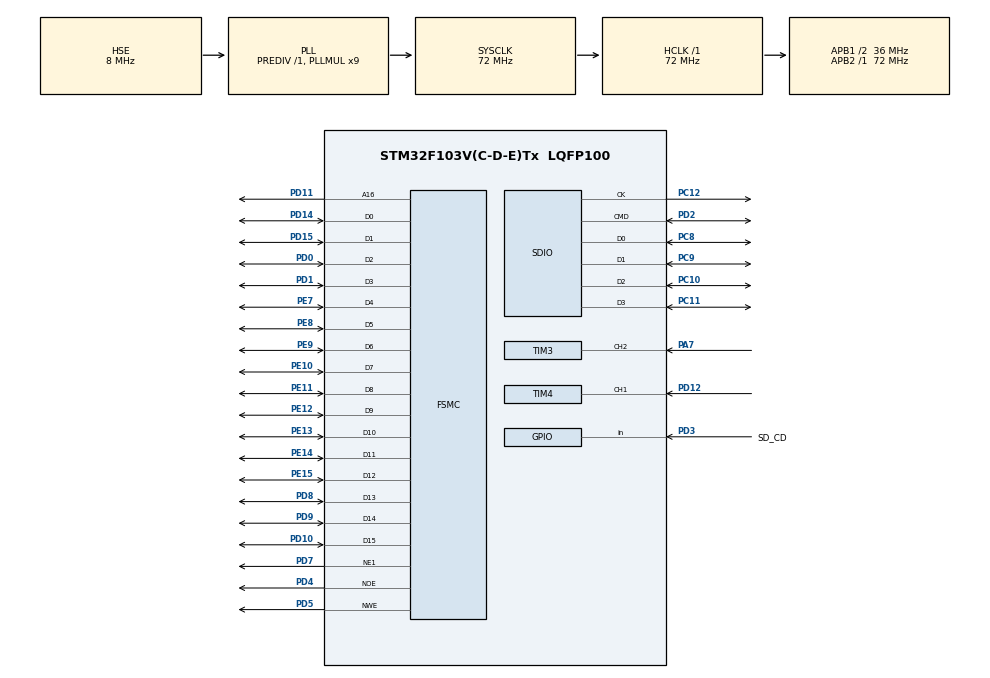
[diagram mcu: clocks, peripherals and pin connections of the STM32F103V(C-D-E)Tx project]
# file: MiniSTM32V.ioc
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Dma.Request0=SDIO
Dma.Request1=TIM4_CH2
Dma.SDIO.0.Direction=DMA_PERIPH_TO_MEMORY
Dma.SDIO.0.Instance=DMA2_Channel4
Dma.SDIO.0.MemDataAlignment=DMA_MDATAALIGN_WORD
Dma.SDIO.0.MemInc=DMA_MINC_ENABLE
Dma.SDIO.0.Mode=DMA_NORMAL
Dma.SDIO.0.PeriphDataAlignment=DMA_PDATAALIGN_WORD
Dma.SDIO.0.PeriphInc=DMA_PINC_DISABLE
Dma.SDIO.0.Priority=DMA_PRIORITY_LOW
Dma.TIM4_CH2.1.Direction=DMA_PERIPH_TO_MEMORY
Dma.TIM4_CH2.1.Instance=DMA1_Channel4
Dma.TIM4_CH2.1.MemDataAlignment=DMA_MDATAALIGN_HALFWORD
Dma.TIM4_CH2.1.MemInc=DMA_MINC_ENABLE
Dma.TIM4_CH2.1.Mode=DMA_CIRCULAR
Dma.TIM4_CH2.1.PeriphDataAlignment=DMA_PDATAALIGN_HALFWORD
Dma.TIM4_CH2.1.PeriphInc=DMA_PINC_DISABLE
Dma.TIM4_CH2.1.Priority=DMA_PRIORITY_VERY_HIGH
FATFS.BSP.number=1
FATFS0.BSP.STBoard=false
FATFS0.BSP.api=Unknown
FATFS0.BSP.i2caddr=0
FATFS0.BSP.instance=PD3
FATFS0.BSP.ip=GPIO
FATFS0.BSP.mode=Input
FATFS0.BSP.name=Detect_SDIO
FATFS0.BSP.solution=PD3
FREERTOS.Tasks01=dccTask,24,128,dccTask_Start,As weak,NULL,Static,dccTaskBuffer,dccTaskControlBlock;guiTask,8,128,guiTask_Start,As external,NULL,Static,guiTaskBuffer,guiTaskControlBlock
FSMC.AddressSetupTime1=10
FSMC.BusTurnAroundDuration1=0
FSMC.DataSetupTime1=10
FSMC.ExtendedAccessMode1=FSMC_ACCESS_MODE_A
FSMC.ExtendedMode1=FSMC_EXTENDED_MODE_ENABLE
Mcu.Family=STM32F1
Mcu.Name=STM32F103V(C-D-E)Tx
Mcu.Package=LQFP100
NVIC.DMA1_Channel4_IRQn=true\:5\:0\:false\:false\:true\:true\:false\:true
NVIC.DMA2_Channel4_5_IRQn=true\:5\:0\:false\:false\:true\:true\:false\:true
NVIC.PriorityGroup=NVIC_PRIORITYGROUP_4
NVIC.SDIO_IRQn=true\:5\:0\:false\:false\:true\:true\:true\:true
NVIC.TIM1_UP_IRQn=true\:0\:0\:false\:false\:true\:false\:false\:true
NVIC.TimeBase=TIM1_UP_IRQn
NVIC.TimeBaseIP=TIM1
OSC_IN.Mode=HSE-External-Oscillator
OSC_IN.Signal=RCC_OSC_IN
OSC_OUT.Mode=HSE-External-Oscillator
OSC_OUT.Signal=RCC_OSC_OUT
PA13.Mode=JTAG_5_pins
PA13.Signal=SYS_JTMS-SWDIO
PA14.Mode=JTAG_5_pins
PA14.Signal=SYS_JTCK-SWCLK
PA15.Mode=JTAG_5_pins
PA15.Signal=SYS_JTDI
PA7.Signal=S_TIM3_CH2
PB10.GPIO_Label=DCC_IN
PB10.Signal=S_TIM2_CH3
PB3.Mode=JTAG_5_pins
PB3.Signal=SYS_JTDO-TRACESWO
PB4.Mode=JTAG_5_pins
PB4.Signal=SYS_NJTRST
PC10.Mode=SD_4_bits_Wide_bus
PC10.Signal=SDIO_D2
PC11.Mode=SD_4_bits_Wide_bus
PC11.Signal=SDIO_D3
PC12.Mode=SD_4_bits_Wide_bus
PC12.Signal=SDIO_CK
PC14-OSC32_IN.Mode=LSE-External-Oscillator
PC14-OSC32_IN.Signal=RCC_OSC32_IN
PC15-OSC32_OUT.Mode=LSE-External-Oscillator
PC15-OSC32_OUT.Signal=RCC_OSC32_OUT
PC8.Mode=SD_4_bits_Wide_bus
PC8.Signal=SDIO_D0
PC9.Mode=SD_4_bits_Wide_bus
PC9.Signal=SDIO_D1
PD0.Mode=16b-d1
PD0.Signal=FSMC_D2
PD1.Mode=16b-d1
PD1.Signal=FSMC_D3
PD10.Mode=16b-d1
PD10.Signal=FSMC_D15
PD11.Mode=A16_1
PD11.Signal=FSMC_A16
PD12.Signal=S_TIM4_CH1
PD14.Mode=16b-d1
PD14.Signal=FSMC_D0
PD15.Mode=16b-d1
PD15.Signal=FSMC_D1
PD2.Mode=SD_4_bits_Wide_bus
PD2.Signal=SDIO_CMD
PD3.GPIO_Label=SD_CD
PD3.Signal=GPIO_Input
PD4.Mode=Lcd1
PD4.Signal=FSMC_NOE
PD5.Mode=Lcd1
PD5.Signal=FSMC_NWE
PD7.Mode=NorPsramChipSelect1_1
PD7.Signal=FSMC_NE1
PD8.Mode=16b-d1
PD8.Signal=FSMC_D13
PD9.Mode=16b-d1
PD9.Signal=FSMC_D14
PE10.Mode=16b-d1
PE10.Signal=FSMC_D7
PE11.Mode=16b-d1
PE11.Signal=FSMC_D8
PE12.Mode=16b-d1
PE12.Signal=FSMC_D9
PE13.Mode=16b-d1
PE13.Signal=FSMC_D10
PE14.Mode=16b-d1
PE14.Signal=FSMC_D11
PE15.Mode=16b-d1
PE15.Signal=FSMC_D12
PE7.Mode=16b-d1
PE7.Signal=FSMC_D4
PE8.Mode=16b-d1
PE8.Signal=FSMC_D5
PE9.Mode=16b-d1
PE9.Signal=FSMC_D6
ProjectManager.HeapSize=0x200
ProjectManager.StackSize=0x400
ProjectManager.TargetToolchain=Other Toolchains (GPDSC)
RCC.AHBFreq_Value=72000000
RCC.APB1CLKDivider=RCC_HCLK_DIV2
RCC.APB1Freq_Value=36000000
RCC.APB1TimFreq_Value=72000000
RCC.APB2Freq_Value=72000000
RCC.APB2TimFreq_Value=72000000
RCC.HCLKFreq_Value=72000000
RCC.PLLMUL=RCC_PLL_MUL9
RCC.PLLSourceVirtual=RCC_PLLSOURCE_HSE
RCC.SYSCLKFreq_VALUE=72000000
RCC.SYSCLKSource=RCC_SYSCLKSOURCE_PLLCLK
RCC.USBFreq_Value=72000000
SDIO.HardwareFlowControl=SDIO_HARDWARE_FLOW_CONTROL_ENABLE
SH.S_TIM2_CH3.0=TIM2_CH3
SH.S_TIM2_CH3.1=TIM2_CH3
SH.S_TIM3_CH2.0=TIM3_CH2,Input_Capture2_from_TI2
SH.S_TIM4_CH1.0=TIM4_CH1,Input_Capture1_from_TI1
SH.S_TIM4_CH1.1=TIM4_CH1,Input_Capture2_from_TI1
TIM3.Channel-Input_Capture2_from_TI2=TIM_CHANNEL_2
TIM3.Period=10000
TIM3.Prescaler=7200
TIM4.Channel-Input_Capture1_from_TI1=TIM_CHANNEL_1
TIM4.Channel-Input_Capture2_from_TI1=TIM_CHANNEL_2
TIM4.ICPolarity_CH2=TIM_INPUTCHANNELPOLARITY_FALLING
TIM4.Period=0xffff
TIM4.Prescaler=71
VP_FATFS_VS_SDIO.Mode=SDIO
VP_FREERTOS_VS_CMSIS_V2.Mode=CMSIS_V2
VP_SYS_VS_tim1.Mode=TIM1
VP_TIM4_VS_ClockSourceINT.Mode=Internal
board=custom

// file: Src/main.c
/* USER CODE BEGIN Header */
/**
  ******************************************************************************
  * @file           : main.c
  * @brief          : Main program body
  ******************************************************************************
  * @attention
  *
  * <h2><center>&copy; Copyright (c) 2020 STMicroelectronics.
  * All rights reserved.</center></h2>
  *
  * This software component is licensed by ST under BSD 3-Clause license,
  * the "License"; You may not use this file except in compliance with the
  * License. You may obtain a copy of the License at:
  *                        opensource.org/licenses/BSD-3-Clause
  *
  ******************************************************************************
  */
/* USER CODE END Header */

#include "main.h"
#include "cmsis_os.h"
#include "fatfs.h"

/* USER CODE BEGIN Includes */
#include <stdio.h>
#include "GLCD.h"
/* USER CODE END Includes */

typedef StaticTask_t osStaticThreadDef_t;

SD_HandleTypeDef hsd;
DMA_HandleTypeDef hdma_sdio;

TIM_HandleTypeDef htim3;
TIM_HandleTypeDef htim4;
DMA_HandleTypeDef hdma_tim4_ch2;

SRAM_HandleTypeDef hsram1;

/* Definitions for dccTask */
osThreadId_t dccTaskHandle;
uint32_t dccTaskBuffer[ 128 ];
osStaticThreadDef_t dccTaskControlBlock;
const osThreadAttr_t dccTask_attributes = {
  .name = "dccTask",
  .stack_mem = &dccTaskBuffer[0],
  .stack_size = sizeof(dccTaskBuffer),
  .cb_mem = &dccTaskControlBlock,
  .cb_size = sizeof(dccTaskControlBlock),
  .priority = (osPriority_t) osPriorityNormal,
};
/* Definitions for guiTask */
osThreadId_t guiTaskHandle;
uint32_t guiTaskBuffer[ 128 ];
osStaticThreadDef_t guiTaskControlBlock;
const osThreadAttr_t guiTask_attributes = {
  .name = "guiTask",
  .stack_mem = &guiTaskBuffer[0],
  .stack_size = sizeof(guiTaskBuffer),
  .cb_mem = &guiTaskControlBlock,
  .cb_size = sizeof(guiTaskControlBlock),
  .priority = (osPriority_t) osPriorityLow,
};

void SystemClock_Config(void);
static void MX_GPIO_Init(void);
static void MX_DMA_Init(void);
static void MX_FSMC_Init(void);
static void MX_SDIO_SD_Init(void);
static void MX_TIM3_Init(void);
static void MX_TIM4_Init(void);
void dccTask_Start(void *argument);
extern void guiTask_Start(void *argument);

/* USER CODE BEGIN 0 */
uint32_t DWT_Delay_Init(void)
{
	/* Disable TRC */
	CoreDebug->DEMCR &= ~CoreDebug_DEMCR_TRCENA_Msk;   // ~0x01000000;
	/* Enable TRC */
	CoreDebug->DEMCR |= CoreDebug_DEMCR_TRCENA_Msk;   // 0x01000000;
	/* Disable clock cycle counter */
	DWT->CTRL &= ~DWT_CTRL_CYCCNTENA_Msk;   //~0x00000001;
	/* Enable clock cycle counter */
	DWT->CTRL |= DWT_CTRL_CYCCNTENA_Msk;   //0x00000001;
	/* Reset the clock cycle counter value */
	DWT->CYCCNT = 0;
	/* 3 NO OPERATION instructions */
	__ASM volatile("NOP");
	__ASM volatile("NOP");
	__ASM volatile("NOP");
	/* Check if clock cycle counter has started */
	if (DWT->CYCCNT)
	{
		return 0; /*clock cycle counter started*/
	}
	else
	{
		return 1; /*clock cycle counter not started*/
	}
}

/* USER CODE END 0 */

int main(void)
{

  /* MCU Configuration--------------------------------------------------------*/

  /* Reset of all peripherals, Initializes the Flash interface and the Systick. */
  HAL_Init();

  /* Configure the system clock */
  SystemClock_Config();

  /* Initialize all configured peripherals */
  MX_GPIO_Init();
  MX_DMA_Init();
  MX_FSMC_Init();
  MX_SDIO_SD_Init();
  MX_FATFS_Init();
  MX_TIM3_Init();
  MX_TIM4_Init();
  /* USER CODE BEGIN 2 */
	DWT_Delay_Init();
  LCD_Initializtion();
  LCD_Clear(Black);
  LCD_DrawLine(0, 0, 319, 239, Red);
  LCD_DrawLine(0, 239, 319, 0, Red);
LCD_SetPoint(10,10,Green);
LCD_SetPoint(10,20,Green);
LCD_SetPoint(10,30,Green);
LCD_SetPoint(10,40,Green);
	uint32_t start = DWT->CYCCNT;
  GUI_TextXY(0,0,"Development Board\nLine2\nline3\n",White,Black);
//  GUI_Text("Development Board\n",White,Black);
//    for ( int i = 0; i < 100; i++ )
//        GUI_Text("The rain in spain\n",White,Black);
//	uint32_t end = DWT->CYCCNT;
//
//	printf("%d cycles\n", end - start);
//
//    for ( int i = 0; i < 100; i++ )
//        GUI_Scroll(1,Black);
//  GUI_Scroll(16,Black);
//  GUI_Scroll(16,Black);

  /* USER CODE END 2 */

  /* Init scheduler */
  osKernelInitialize();

  /* Create the thread(s) */
  /* creation of dccTask */
  dccTaskHandle = osThreadNew(dccTask_Start, NULL, &dccTask_attributes);

  /* creation of guiTask */
  guiTaskHandle = osThreadNew(guiTask_Start, NULL, &guiTask_attributes);

  /* Start scheduler */
  osKernelStart();

  /* We should never get here as control is now taken by the scheduler */
  /* Infinite loop */
  while (1)
  {

  }
}

void SystemClock_Config(void)
{
  RCC_OscInitTypeDef RCC_OscInitStruct = {0};
  RCC_ClkInitTypeDef RCC_ClkInitStruct = {0};

  /** Initializes the CPU, AHB and APB busses clocks
  */
  RCC_OscInitStruct.OscillatorType = RCC_OSCILLATORTYPE_HSE;
  RCC_OscInitStruct.HSEState = RCC_HSE_ON;
  RCC_OscInitStruct.HSEPredivValue = RCC_HSE_PREDIV_DIV1;
  RCC_OscInitStruct.HSIState = RCC_HSI_ON;
  RCC_OscInitStruct.PLL.PLLState = RCC_PLL_ON;
  RCC_OscInitStruct.PLL.PLLSource = RCC_PLLSOURCE_HSE;
  RCC_OscInitStruct.PLL.PLLMUL = RCC_PLL_MUL9;
  if (HAL_RCC_OscConfig(&RCC_OscInitStruct) != HAL_OK)
  {
    Error_Handler();
  }
  /** Initializes the CPU, AHB and APB busses clocks
  */
  RCC_ClkInitStruct.ClockType = RCC_CLOCKTYPE_HCLK|RCC_CLOCKTYPE_SYSCLK
                              |RCC_CLOCKTYPE_PCLK1|RCC_CLOCKTYPE_PCLK2;
  RCC_ClkInitStruct.SYSCLKSource = RCC_SYSCLKSOURCE_PLLCLK;
  RCC_ClkInitStruct.AHBCLKDivider = RCC_SYSCLK_DIV1;
  RCC_ClkInitStruct.APB1CLKDivider = RCC_HCLK_DIV2;
  RCC_ClkInitStruct.APB2CLKDivider = RCC_HCLK_DIV1;

  if (HAL_RCC_ClockConfig(&RCC_ClkInitStruct, FLASH_LATENCY_2) != HAL_OK)
  {
    Error_Handler();
  }
}

static void MX_SDIO_SD_Init(void)
{

  hsd.Instance = SDIO;
  hsd.Init.ClockEdge = SDIO_CLOCK_EDGE_RISING;
  hsd.Init.ClockBypass = SDIO_CLOCK_BYPASS_DISABLE;
  hsd.Init.ClockPowerSave = SDIO_CLOCK_POWER_SAVE_DISABLE;
  hsd.Init.BusWide = SDIO_BUS_WIDE_1B;
  hsd.Init.HardwareFlowControl = SDIO_HARDWARE_FLOW_CONTROL_ENABLE;
  hsd.Init.ClockDiv = 0;

}

static void MX_TIM3_Init(void)
{

  TIM_MasterConfigTypeDef sMasterConfig = {0};
  TIM_IC_InitTypeDef sConfigIC = {0};

  htim3.Instance = TIM3;
  htim3.Init.Prescaler = 7200;
  htim3.Init.CounterMode = TIM_COUNTERMODE_UP;
  htim3.Init.Period = 10000;
  htim3.Init.ClockDivision = TIM_CLOCKDIVISION_DIV1;
  htim3.Init.AutoReloadPreload = TIM_AUTORELOAD_PRELOAD_DISABLE;
  if (HAL_TIM_IC_Init(&htim3) != HAL_OK)
  {
    Error_Handler();
  }
  sMasterConfig.MasterOutputTrigger = TIM_TRGO_RESET;
  sMasterConfig.MasterSlaveMode = TIM_MASTERSLAVEMODE_DISABLE;
  if (HAL_TIMEx_MasterConfigSynchronization(&htim3, &sMasterConfig) != HAL_OK)
  {
    Error_Handler();
  }
  sConfigIC.ICPolarity = TIM_INPUTCHANNELPOLARITY_RISING;
  sConfigIC.ICSelection = TIM_ICSELECTION_DIRECTTI;
  sConfigIC.ICPrescaler = TIM_ICPSC_DIV1;
  sConfigIC.ICFilter = 0;
  if (HAL_TIM_IC_ConfigChannel(&htim3, &sConfigIC, TIM_CHANNEL_2) != HAL_OK)
  {
    Error_Handler();
  }

}

static void MX_TIM4_Init(void)
{

  TIM_ClockConfigTypeDef sClockSourceConfig = {0};
  TIM_MasterConfigTypeDef sMasterConfig = {0};
  TIM_IC_InitTypeDef sConfigIC = {0};

  htim4.Instance = TIM4;
  htim4.Init.Prescaler = 71;
  htim4.Init.CounterMode = TIM_COUNTERMODE_UP;
  htim4.Init.Period = 0xffff;
  htim4.Init.ClockDivision = TIM_CLOCKDIVISION_DIV1;
  htim4.Init.AutoReloadPreload = TIM_AUTORELOAD_PRELOAD_DISABLE;
  if (HAL_TIM_Base_Init(&htim4) != HAL_OK)
  {
    Error_Handler();
  }
  sClockSourceConfig.ClockSource = TIM_CLOCKSOURCE_INTERNAL;
  if (HAL_TIM_ConfigClockSource(&htim4, &sClockSourceConfig) != HAL_OK)
  {
    Error_Handler();
  }
  if (HAL_TIM_IC_Init(&htim4) != HAL_OK)
  {
    Error_Handler();
  }
  sMasterConfig.MasterOutputTrigger = TIM_TRGO_RESET;
  sMasterConfig.MasterSlaveMode = TIM_MASTERSLAVEMODE_DISABLE;
  if (HAL_TIMEx_MasterConfigSynchronization(&htim4, &sMasterConfig) != HAL_OK)
  {
    Error_Handler();
  }
  sConfigIC.ICPolarity = TIM_INPUTCHANNELPOLARITY_RISING;
  sConfigIC.ICSelection = TIM_ICSELECTION_DIRECTTI;
  sConfigIC.ICPrescaler = TIM_ICPSC_DIV1;
  sConfigIC.ICFilter = 0;
  if (HAL_TIM_IC_ConfigChannel(&htim4, &sConfigIC, TIM_CHANNEL_1) != HAL_OK)
  {
    Error_Handler();
  }
  sConfigIC.ICPolarity = TIM_INPUTCHANNELPOLARITY_FALLING;
  sConfigIC.ICSelection = TIM_ICSELECTION_INDIRECTTI;
  if (HAL_TIM_IC_ConfigChannel(&htim4, &sConfigIC, TIM_CHANNEL_2) != HAL_OK)
  {
    Error_Handler();
  }

}

static void MX_DMA_Init(void)
{

  /* DMA controller clock enable */
  __HAL_RCC_DMA2_CLK_ENABLE();
  __HAL_RCC_DMA1_CLK_ENABLE();

  /* DMA interrupt init */
  /* DMA1_Channel4_IRQn interrupt configuration */
  HAL_NVIC_SetPriority(DMA1_Channel4_IRQn, 5, 0);
  HAL_NVIC_EnableIRQ(DMA1_Channel4_IRQn);
  /* DMA2_Channel4_5_IRQn interrupt configuration */
  HAL_NVIC_SetPriority(DMA2_Channel4_5_IRQn, 5, 0);
  HAL_NVIC_EnableIRQ(DMA2_Channel4_5_IRQn);

}

static void MX_GPIO_Init(void)
{
  GPIO_InitTypeDef GPIO_InitStruct = {0};

  /* GPIO Ports Clock Enable */
  __HAL_RCC_GPIOC_CLK_ENABLE();
  __HAL_RCC_GPIOA_CLK_ENABLE();
  __HAL_RCC_GPIOE_CLK_ENABLE();
  __HAL_RCC_GPIOB_CLK_ENABLE();
  __HAL_RCC_GPIOD_CLK_ENABLE();

  /*Configure GPIO pin : DCC_IN_Pin */
  GPIO_InitStruct.Pin = DCC_IN_Pin;
  GPIO_InitStruct.Mode = GPIO_MODE_AF_PP;
  GPIO_InitStruct.Speed = GPIO_SPEED_FREQ_LOW;
  HAL_GPIO_Init(DCC_IN_GPIO_Port, &GPIO_InitStruct);

  /*Configure GPIO pin : SD_CD_Pin */
  GPIO_InitStruct.Pin = SD_CD_Pin;
  GPIO_InitStruct.Mode = GPIO_MODE_INPUT;
  GPIO_InitStruct.Pull = GPIO_NOPULL;
  HAL_GPIO_Init(SD_CD_GPIO_Port, &GPIO_InitStruct);

  /*Configure peripheral I/O remapping */
  __HAL_AFIO_REMAP_TIM2_PARTIAL_2();

}

/* FSMC initialization function */
static void MX_FSMC_Init(void)
{

  FSMC_NORSRAM_TimingTypeDef Timing = {0};
  FSMC_NORSRAM_TimingTypeDef ExtTiming = {0};

  /** Perform the SRAM1 memory initialization sequence
  */
  hsram1.Instance = FSMC_NORSRAM_DEVICE;
  hsram1.Extended = FSMC_NORSRAM_EXTENDED_DEVICE;
  /* hsram1.Init */
  hsram1.Init.NSBank = FSMC_NORSRAM_BANK1;
  hsram1.Init.DataAddressMux = FSMC_DATA_ADDRESS_MUX_DISABLE;
  hsram1.Init.MemoryType = FSMC_MEMORY_TYPE_SRAM;
  hsram1.Init.MemoryDataWidth = FSMC_NORSRAM_MEM_BUS_WIDTH_16;
  hsram1.Init.BurstAccessMode = FSMC_BURST_ACCESS_MODE_DISABLE;
  hsram1.Init.WaitSignalPolarity = FSMC_WAIT_SIGNAL_POLARITY_LOW;
  hsram1.Init.WrapMode = FSMC_WRAP_MODE_DISABLE;
  hsram1.Init.WaitSignalActive = FSMC_WAIT_TIMING_BEFORE_WS;
  hsram1.Init.WriteOperation = FSMC_WRITE_OPERATION_ENABLE;
  hsram1.Init.WaitSignal = FSMC_WAIT_SIGNAL_DISABLE;
  hsram1.Init.ExtendedMode = FSMC_EXTENDED_MODE_ENABLE;
  hsram1.Init.AsynchronousWait = FSMC_ASYNCHRONOUS_WAIT_DISABLE;
  hsram1.Init.WriteBurst = FSMC_WRITE_BURST_DISABLE;
  /* Timing */
  Timing.AddressSetupTime = 10;
  Timing.AddressHoldTime = 15;
  Timing.DataSetupTime = 10;
  Timing.BusTurnAroundDuration = 0;
  Timing.CLKDivision = 16;
  Timing.DataLatency = 17;
  Timing.AccessMode = FSMC_ACCESS_MODE_A;
  /* ExtTiming */
  ExtTiming.AddressSetupTime = 15;
  ExtTiming.AddressHoldTime = 15;
  ExtTiming.DataSetupTime = 255;
  ExtTiming.BusTurnAroundDuration = 15;
  ExtTiming.CLKDivision = 16;
  ExtTiming.DataLatency = 17;
  ExtTiming.AccessMode = FSMC_ACCESS_MODE_A;

  if (HAL_SRAM_Init(&hsram1, &Timing, &ExtTiming) != HAL_OK)
  {
    Error_Handler( );
  }

  /** Disconnect NADV
  */

  __HAL_AFIO_FSMCNADV_DISCONNECTED();

}

__weak void dccTask_Start(void *argument)
{
  for(;;)
  {
    osDelay(1);
  }
}

 /**
  * @brief  Period elapsed callback in non blocking mode
  * @note   This function is called  when TIM1 interrupt took place, inside
  * HAL_TIM_IRQHandler(). It makes a direct call to HAL_IncTick() to increment
  * a global variable "uwTick" used as application time base.
  * @param  htim : TIM handle
  * @retval None
  */
void HAL_TIM_PeriodElapsedCallback(TIM_HandleTypeDef *htim)
{
  if (htim->Instance == TIM1) {
    HAL_IncTick();
  }
}

void Error_Handler(void)
{
}

/************************ (C) COPYRIGHT STMicroelectronics *****END OF FILE****/
